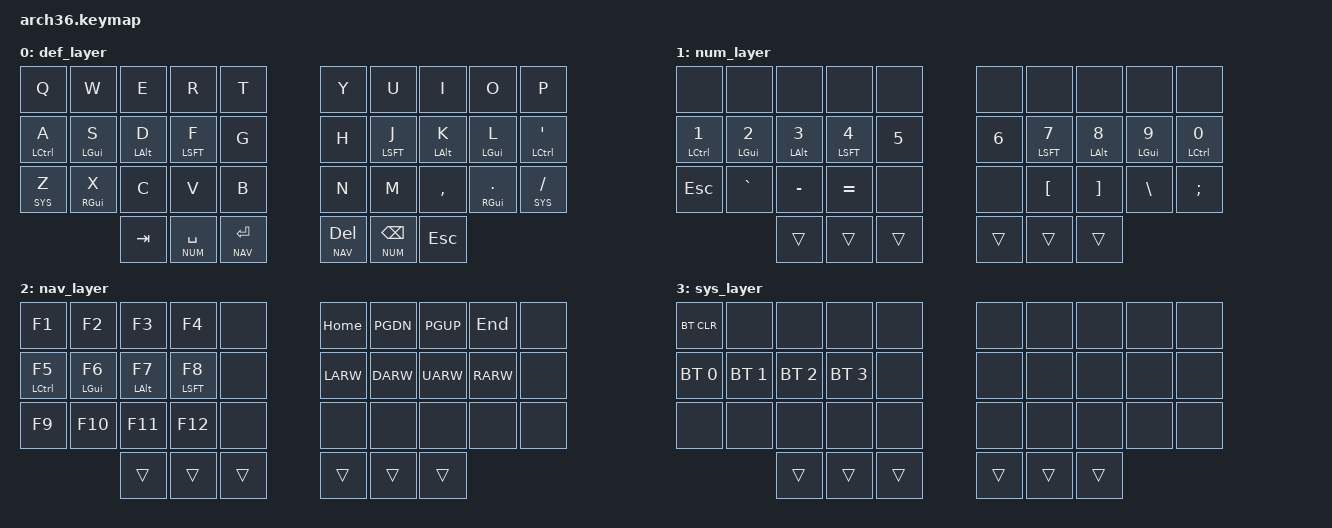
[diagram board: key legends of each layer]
#include <behaviors.dtsi>
#include <dt-bindings/zmk/keys.h>
#include <dt-bindings/zmk/bt.h>

#define DEF 0
#define NUM 1
#define NAV 2
#define SYS 3

&mt {
    flavor = "tap-preferred";
    tapping-term-ms = <150>;
    quick-tap-ms = <150>;
};

&lt {
    flavor = "tap-preferred";
    tapping-term-ms = <150>;
    quick-tap-ms = <150>;
};


#define COMBO(NAME, KEYPOS) \
    combo_##NAME { \
        timeout-ms = <100>; \
        key-positions = <KEYPOS>; \
        bindings = <&kp NAME>; \
    };

/ {

    combos {
        compatible = "zmk,combos";
		/*
        COMBO(NUM_1, 0 10)
        COMBO(NUM_2, 1 11)
        COMBO(NUM_3, 2 12)
        COMBO(NUM_4, 3 13)
        COMBO(NUM_5, 4 14)
        COMBO(NUM_6, 5 15)
        COMBO(NUM_7, 6 16)
        COMBO(NUM_8, 7 17)
        COMBO(NUM_9, 8 18)
        COMBO(NUM_0, 9 19)
		*/
        COMBO(ESC, 10 20)
		/*
        COMBO(GRAVE, 11 21)
        COMBO(MINUS, 12 22)
        COMBO(EQUAL, 13 23)
        COMBO(LEFT_BRACKET, 16 26)
        COMBO(RIGHT_BRACKET, 17 27)
        COMBO(BACKSLASH, 18 28)
        COMBO(SCLN, 19 29)
		*/
    };

    keymap {
        compatible = "zmk,keymap";

        def_layer {
            bindings = <
    &kp Q       &kp W      &kp E      &kp R      &kp T &kp Y     &kp U      &kp I      &kp O      &kp P   
    &mt LCTL A  &mt LGUI S &mt LALT D &mt LSFT F &kp G &kp H     &mt LSFT J &mt LALT K &mt LGUI L &mt LCTL QUOT
    &lt SYS Z   &mt RGUI X      &kp C      &kp V   &kp B &kp N     &kp M   &kp CMMA   &mt RGUI DOT    &lt SYS SLASH
                	&kp TAB &lt NUM SPC &lt NAV RET &lt NAV DEL &lt NUM BSPC  &kp ESC
            >;
        };

        num_layer {
            bindings = <
    &none &none &none &none &none &none &none &none &none &none 
    &mt LCTL NUM_1  &mt LGUI NUM_2 &mt LALT NUM_3 &mt LSFT NUM_4 &kp NUM_5 &kp NUM_6 &mt LSFT NUM_7  &mt LALT NUM_8 &mt LGUI NUM_9 &mt LCTL NUM_0
    &kp ESC &kp GRAVE &kp MINUS &kp EQUAL &none &none &kp LEFT_BRACKET &kp RIGHT_BRACKET &kp BACKSLASH &kp SEMICOLON 
                &trans &trans &trans &trans &trans &trans
            >;
        };

        nav_layer {
            bindings = <
    &kp F1 &kp F2 &kp F3 &kp F4 &none &kp HOME &kp PGDN &kp PGUP &kp END &none
    &mt LCTL F5 &mt LGUI F6 &mt LALT F7 &mt LSFT F8 &none &kp LARW &kp DARW &kp UARW &kp RARW &none
    &kp F9 &kp F10 &kp F11 &kp F12 &none &none &none &none &none &none
                &trans &trans &trans &trans &trans &trans
            >;
        };

        sys_layer {
            bindings = <
    &bt BT_CLR &none &none &none &none &none &none &none &none &none 
    &bt BT_SEL 0 &bt BT_SEL 1 &bt BT_SEL 2 &bt BT_SEL 3 &none &none &none &none &none &none 
    &none &none &none &none &none &none &none &none &none &none 
                &trans &trans &trans &trans &trans &trans
            >;
        };
    };

};
